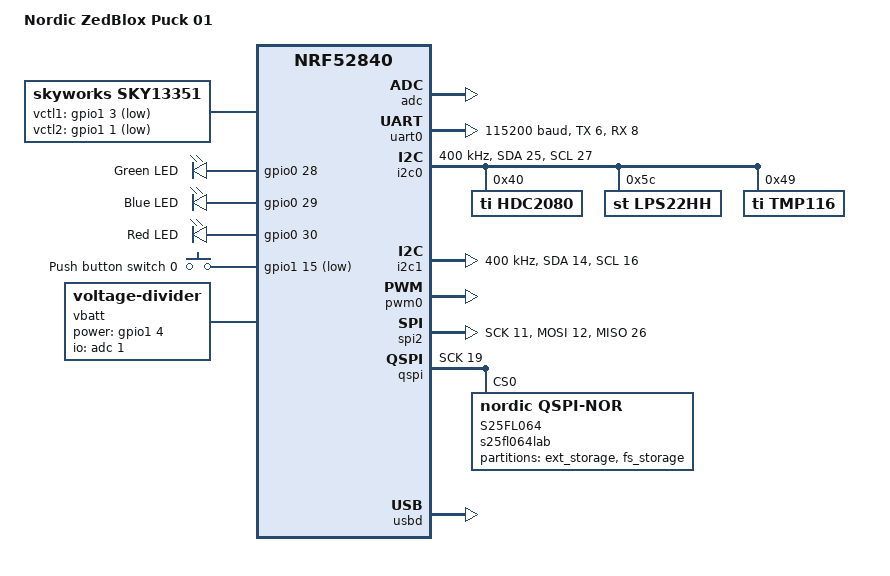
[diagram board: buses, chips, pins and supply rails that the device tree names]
/dts-v1/;
#include <nordic/nrf52840_qiaa.dtsi>

/ {
	model = "Nordic ZedBlox Puck 01";
	compatible = "nordic,zbpuck-01";

    sky13351 {
		compatible = "skyworks,sky13351";
		vctl1-gpios = <&gpio1 3 GPIO_ACTIVE_LOW>;
		vctl2-gpios = <&gpio1 1 GPIO_ACTIVE_LOW>;
	};

	chosen {
		zephyr,console = &uart0;
		zephyr,shell-uart = &uart0;
		zephyr,uart-mcumgr = &uart0;
		zephyr,bt-mon-uart = &uart0;
		zephyr,bt-c2h-uart = &uart0;
		zephyr,sram = &sram0;
		zephyr,flash = &flash0;
		zephyr,code-partition = &slot0_partition;
	};

	/* These aliases are provided for compatibility with samples */
	aliases {
		led0 = &led0;
		led1 = &led1;
		led2 = &led2;
		sw0 = &button0;
	};

	leds {
		compatible = "gpio-leds";
		/* Lightwell RGB */
		led0: led_0 {
			gpios = <&gpio0 28 GPIO_ACTIVE_HIGH>;
			label = "Green LED";
		};
		led1: led_1 {
			gpios = <&gpio0 29 GPIO_ACTIVE_HIGH>;
			label = "Blue LED";
		};
		led2: led_2 {
			gpios = <&gpio0 30 GPIO_ACTIVE_HIGH>;
			label = "Red LED";
		};
	};

	buttons {
		compatible = "gpio-keys";
		button0: button_0 {
			gpios = <&gpio1 15 (GPIO_ACTIVE_LOW | GPIO_PULL_UP)>;
			label = "Push button switch 0";
		};
	};

	vbatt {
		compatible = "voltage-divider";
		io-channels = <&adc 1>;
		output-ohms = <180000>;
		full-ohms = <(180000 + 1500000)>;
        power-gpios = <&gpio1 4 GPIO_ACTIVE_HIGH>;
	};
};

&adc {
	status = "okay";
};

&gpiote {
	status = "okay";
};

&gpio0 {
	status = "okay";
};

&gpio1 {
	status = "okay";
};

&uart0 {
	compatible = "nordic,nrf-uarte";
	status = "okay";
	current-speed = <115200>;
	tx-pin = <6>;
	rx-pin = <8>;
};

&uart1 {
    compatible = "nordic,nrf-uarte";
    //status = "okay";
	//current-speed = <9600>;
	//tx-pin = <31>;
	//rx-pin = <30>;
};

&i2c0 {
    compatible = "nordic,nrf-twim";
	status = "okay";
	clock-frequency = <I2C_BITRATE_FAST>;
	sda-pin = <25>;
	scl-pin = <27>;

    hdc2080: hdc2080@40 {
        compatible = "ti,hdc2080";
        reg = <0x40>;
        label = "HDC2080";
    };
 
    lps22hh: lps22hh@5c {
		compatible = "st,lps22hh";
		reg = <0x5c>;
		label = "LPS22HH";
	};

    ti_tmp116: ti_tmp116@49 {
		compatible = "ti,tmp116";
		reg = <0x49>;
		label = "TMP116";
	};
};

&i2c1 {
    compatible = "nordic,nrf-twim";
	status = "okay";
	clock-frequency = <I2C_BITRATE_FAST>;
	sda-pin = <14>;
	scl-pin = <16>;
};

&pwm0 {
	status = "okay";
};

&spi2 {
    compatible = "nordic,nrf-spim";
	status = "okay";
	sck-pin = <11>;
	mosi-pin = <12>;
	miso-pin = <26>;
    miso-pull-up;
	cs-gpios = <&gpio0 24 0>;
};

/*
&spi3 {
    compatible = "nordic,nrf-spim";
	status = "okay";
	sck-pin = <17>;
	mosi-pin = <15>;
	miso-pin = <14>;
	cs-gpios = <&gpio1 12 0>;
};
*/

&qspi {
	status = "okay";
	sck-pin = <19>;
	io-pins = <22>, <23>, <32>, <21>;
	csn-pins = <18>;
	s25fl064: s25fl064lab@0 {
		compatible = "nordic,qspi-nor";
		reg = <0>;
		writeoc = "pp4io";
		readoc = "read4io";
		sck-frequency = <8000000>;
		label = "S25FL064";
		jedec-id = [01 60 17];
		size = <67108864>;
		has-be32k;
		has-dpd;
		t-enter-dpd = <10000>;
		t-exit-dpd = <35000>;
	};
};

/*
&qspi {
	status = "okay";
	sck-pin = <19>;
	io-pins = <22>, <23>, <32>, <21>;
	csn-pins = <18>;
	mx25r64: mx25r6435f@0 {
		compatible = "nordic,qspi-nor";
		reg = <0>;
		writeoc = "pp4io";
		readoc = "read4io";
		sck-frequency = <8000000>;
		label = "MX25R64";
		jedec-id = [c2 28 17];
		size = <67108864>;
		has-be32k;
		has-dpd;
		t-enter-dpd = <10000>;
		t-exit-dpd = <35000>;
	};
};
*/

&flash0 {
	/*
	 * For more information, see:
	 * http://docs.zephyrproject.org/latest/guides/dts/index.html#flash-partitions
	 */
	partitions {
		compatible = "fixed-partitions";
		#address-cells = <1>;
		#size-cells = <1>;

		boot_partition: partition@0 {
			label = "mcuboot";
			reg = <0x000000000 0x000010000>;
		};
		slot0_partition: partition@10000 {
			label = "image-0";
			reg = <0x000010000 0x00006c000>;
		};
		slot1_partition: partition@7c000 {
			label = "image-1";
			reg = <0x0007c000 0x00006c000>;
		};
        scratch_partition: partition@e8000 {
			label = "image-scratch";
			reg = <0x000e8000 0x00010000>;
		};

		/*
		 * The flash starting at 0x000f8000 and ending at
		 * 0x000fffff is reserved for use by the application.
		 */

        /* Storage partition will be used by nvs settings */
		settings_partition: partition@f8000 {
			label = "settings_store";
			reg = <0x000f8000 0x00008000>;
		};
	};
};

&s25fl064 {
	/*
	 * For more information, see:
	 * http://docs.zephyrproject.org/latest/guides/dts/index.html#flash-partitions
	 */
	partitions {
		compatible = "fixed-partitions";
		#address-cells = <1>;
		#size-cells = <1>;

		/* Storage partition will be used by FCB if enabled. */
		ext_storage_partition: partition@0 {
			label = "ext_storage";
			reg = <0x00000000 0x00400000>;
		};

		/* Storage partition will be used by filesystem if enabled. */
		fs_partition: partition@400000 {
			label = "fs_storage";
			reg = <0x00400000 0x00400000>;
		};
	};
};

&usbd {
	compatible = "nordic,nrf-usbd";
	status = "okay";
};
